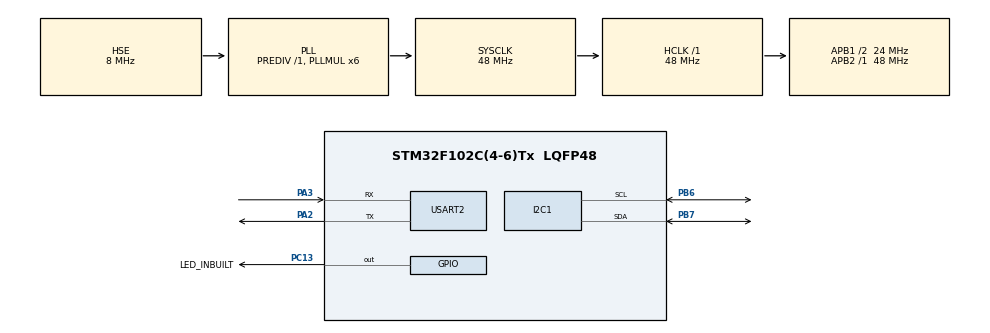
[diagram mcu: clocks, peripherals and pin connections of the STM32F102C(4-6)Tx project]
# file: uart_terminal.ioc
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Mcu.Family=STM32F1
Mcu.Name=STM32F102C(4-6)Tx
Mcu.Package=LQFP48
NVIC.I2C1_ER_IRQn=true\:0\:0\:false\:false\:true\:true\:true\:true
NVIC.I2C1_EV_IRQn=true\:0\:0\:false\:false\:true\:true\:true\:true
NVIC.PriorityGroup=NVIC_PRIORITYGROUP_4
NVIC.USART2_IRQn=true\:0\:0\:false\:false\:true\:true\:true\:true
PA2.Mode=Asynchronous
PA2.Signal=USART2_TX
PA3.Mode=Asynchronous
PA3.Signal=USART2_RX
PB6.Mode=I2C
PB6.Signal=I2C1_SCL
PB7.Mode=I2C
PB7.Signal=I2C1_SDA
PC13-TAMPER-RTC.GPIO_Label=LED_INBUILT
PC13-TAMPER-RTC.Signal=GPIO_Output
PD0-OSC_IN.Mode=HSE-External-Oscillator
PD0-OSC_IN.Signal=RCC_OSC_IN
PD1-OSC_OUT.Mode=HSE-External-Oscillator
PD1-OSC_OUT.Signal=RCC_OSC_OUT
ProjectManager.HeapSize=0x200
ProjectManager.StackSize=0x400
ProjectManager.TargetToolchain=Makefile
RCC.AHBFreq_Value=48000000
RCC.APB1CLKDivider=RCC_HCLK_DIV2
RCC.APB1Freq_Value=24000000
RCC.APB1TimFreq_Value=48000000
RCC.APB2Freq_Value=48000000
RCC.HCLKFreq_Value=48000000
RCC.PLLMUL=RCC_PLL_MUL6
RCC.PLLSourceVirtual=RCC_PLLSOURCE_HSE
RCC.SYSCLKFreq_VALUE=48000000
RCC.SYSCLKSource=RCC_SYSCLKSOURCE_PLLCLK
RCC.USBFreq_Value=48000000
USART2.VirtualMode=VM_ASYNC
VP_SYS_VS_ND.Mode=No_Debug
board=custom

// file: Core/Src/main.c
/* USER CODE BEGIN Header */
/**
  ******************************************************************************
  * @file           : main.c
  * @brief          : Main program body
  ******************************************************************************
  * @attention
  *
  * Copyright (c) 2026 STMicroelectronics.
  * All rights reserved.
  *
  * This software is licensed under terms that can be found in the LICENSE file
  * in the root directory of this software component.
  * If no LICENSE file comes with this software, it is provided AS-IS.
  *
  ******************************************************************************
  */
/* USER CODE END Header */
#include "main.h"

/* USER CODE BEGIN Includes */
#include "uart.h"
#include "mpu6050.h"
#include <stdio.h>
#include <stdlib.h>

#define RX_BUF_SIZE 64

/* USER CODE END Includes */

I2C_HandleTypeDef hi2c1;

UART_HandleTypeDef huart2;

/* USER CODE BEGIN PV */

uint32_t last_blink = 0;
uint32_t last_read = 0;
uint8_t imu_stream_enabled = 0;

/* USER CODE END PV */

void SystemClock_Config(void);
static void MX_GPIO_Init(void);
static void MX_USART2_UART_Init(void);
static void MX_I2C1_Init(void);

/* USER CODE BEGIN 0 */
float alpha = 0.9;
/* USER CODE END 0 */

int main(void)
{

  /* MCU Configuration--------------------------------------------------------*/

  /* Reset of all peripherals, Initializes the Flash interface and the Systick. */
  HAL_Init();

  /* Configure the system clock */
  SystemClock_Config();

  /* Initialize all configured peripherals */
  MX_GPIO_Init();
  MX_USART2_UART_Init();
  MX_I2C1_Init();
  /* USER CODE BEGIN 2 */
  mpu6050_init();
  HAL_Delay(20);
  mpu6050_calibrateGyro();
  last_read = HAL_GetTick();

  MPU6050_Data accel;
  MPU6050_Data gyro;
  MPU6050_Data rpy_acc;
  MPU6050_Data rpy_gyro;
  MPU6050_Data rpy_compl;

  UART_Init();
  /* USER CODE END 2 */

  /* Infinite loop */
  /* USER CODE BEGIN WHILE */

  while (1){
    UART_Process();

    //Temporary Debug Setup
    if(imu_stream_enabled && (HAL_GetTick() - last_read >= 50)){
        mpu6050_readAccel(&accel);
        mpu6050_readGyro(&gyro);
        rpy_acc = mpu6050_rpy_accel(&accel, NULL);
        rpy_gyro = mpu6050_rpy_gyro(&gyro);
        rpy_compl = mpu6050_rpy_compl(&rpy_acc, &rpy_gyro, alpha);
        last_read = HAL_GetTick();

        printf("\r");  // stay on same line (start of same line)

        // printf(
        // "\rACC[%4d.%02d %4d.%02d %4d.%02d] | GYR[%4d.%02d %4d.%02d %4d.%02d]  |  RPY_A[%4d.%02d %4d.%02d %4d.%02d] | RPY_G[%4d.%02d %4d.%02d %4d.%02d]   ",
        //     (int)accel.x, abs((int)(accel.x*100)%100),
        //     (int)accel.y, abs((int)(accel.y*100)%100),
        //     (int)accel.z, abs((int)(accel.z*100)%100),

        //     (int)gyro.x, abs((int)(gyro.x*100)%100),
        //     (int)gyro.y, abs((int)(gyro.y*100)%100),
        //     (int)gyro.z, abs((int)(gyro.z*100)%100),

        //     (int)rpy_acc.x, abs((int)(rpy_acc.x*100)%100),
        //     (int)rpy_acc.y, abs((int)(rpy_acc.y*100)%100),
        //     (int)rpy_acc.z, abs((int)(rpy_acc.z*100)%100),

        //     (int)rpy_gyro.x, abs((int)(rpy_gyro.x*100)%100),
        //     (int)rpy_gyro.y, abs((int)(rpy_gyro.y*100)%100),
        //     (int)rpy_gyro.z, abs((int)(rpy_gyro.z*100)%100)
        // );

        printf(
        "\rRPY[%4d.%02d %4d.%02d %4d.%02d]   ",
            (int)rpy_compl.x, abs((int)(rpy_compl.x*100)%100),
            (int)rpy_compl.y, abs((int)(rpy_compl.y*100)%100),
            (int)rpy_compl.z, abs((int)(rpy_compl.z*100)%100)
        );
    }

    if(HAL_GetTick() - last_blink >= 100){
        last_blink = HAL_GetTick();
        HAL_GPIO_TogglePin(LED_INBUILT_GPIO_Port, LED_INBUILT_Pin);
    }
    /* USER CODE END WHILE */

  }
}

void SystemClock_Config(void)
{
  RCC_OscInitTypeDef RCC_OscInitStruct = {0};
  RCC_ClkInitTypeDef RCC_ClkInitStruct = {0};

  /** Initializes the RCC Oscillators according to the specified parameters
  * in the RCC_OscInitTypeDef structure.
  */
  RCC_OscInitStruct.OscillatorType = RCC_OSCILLATORTYPE_HSE;
  RCC_OscInitStruct.HSEState = RCC_HSE_ON;
  RCC_OscInitStruct.HSEPredivValue = RCC_HSE_PREDIV_DIV1;
  RCC_OscInitStruct.HSIState = RCC_HSI_ON;
  RCC_OscInitStruct.PLL.PLLState = RCC_PLL_ON;
  RCC_OscInitStruct.PLL.PLLSource = RCC_PLLSOURCE_HSE;
  RCC_OscInitStruct.PLL.PLLMUL = RCC_PLL_MUL6;
  if (HAL_RCC_OscConfig(&RCC_OscInitStruct) != HAL_OK)
  {
    Error_Handler();
  }

  /** Initializes the CPU, AHB and APB buses clocks
  */
  RCC_ClkInitStruct.ClockType = RCC_CLOCKTYPE_HCLK|RCC_CLOCKTYPE_SYSCLK
                              |RCC_CLOCKTYPE_PCLK1|RCC_CLOCKTYPE_PCLK2;
  RCC_ClkInitStruct.SYSCLKSource = RCC_SYSCLKSOURCE_PLLCLK;
  RCC_ClkInitStruct.AHBCLKDivider = RCC_SYSCLK_DIV1;
  RCC_ClkInitStruct.APB1CLKDivider = RCC_HCLK_DIV2;
  RCC_ClkInitStruct.APB2CLKDivider = RCC_HCLK_DIV1;

  if (HAL_RCC_ClockConfig(&RCC_ClkInitStruct, FLASH_LATENCY_1) != HAL_OK)
  {
    Error_Handler();
  }
}

static void MX_I2C1_Init(void)
{

  hi2c1.Instance = I2C1;
  hi2c1.Init.ClockSpeed = 100000;
  hi2c1.Init.DutyCycle = I2C_DUTYCYCLE_2;
  hi2c1.Init.OwnAddress1 = 0;
  hi2c1.Init.AddressingMode = I2C_ADDRESSINGMODE_7BIT;
  hi2c1.Init.DualAddressMode = I2C_DUALADDRESS_DISABLE;
  hi2c1.Init.OwnAddress2 = 0;
  hi2c1.Init.GeneralCallMode = I2C_GENERALCALL_DISABLE;
  hi2c1.Init.NoStretchMode = I2C_NOSTRETCH_DISABLE;
  if (HAL_I2C_Init(&hi2c1) != HAL_OK)
  {
    Error_Handler();
  }

}

static void MX_USART2_UART_Init(void)
{

  huart2.Instance = USART2;
  huart2.Init.BaudRate = 115200;
  huart2.Init.WordLength = UART_WORDLENGTH_8B;
  huart2.Init.StopBits = UART_STOPBITS_1;
  huart2.Init.Parity = UART_PARITY_NONE;
  huart2.Init.Mode = UART_MODE_TX_RX;
  huart2.Init.HwFlowCtl = UART_HWCONTROL_NONE;
  huart2.Init.OverSampling = UART_OVERSAMPLING_16;
  if (HAL_UART_Init(&huart2) != HAL_OK)
  {
    Error_Handler();
  }

}

static void MX_GPIO_Init(void)
{
  GPIO_InitTypeDef GPIO_InitStruct = {0};

  /* GPIO Ports Clock Enable */
  __HAL_RCC_GPIOC_CLK_ENABLE();
  __HAL_RCC_GPIOD_CLK_ENABLE();
  __HAL_RCC_GPIOA_CLK_ENABLE();
  __HAL_RCC_GPIOB_CLK_ENABLE();

  /*Configure GPIO pin Output Level */
  HAL_GPIO_WritePin(LED_INBUILT_GPIO_Port, LED_INBUILT_Pin, GPIO_PIN_RESET);

  /*Configure GPIO pin : LED_INBUILT_Pin */
  GPIO_InitStruct.Pin = LED_INBUILT_Pin;
  GPIO_InitStruct.Mode = GPIO_MODE_OUTPUT_PP;
  GPIO_InitStruct.Pull = GPIO_NOPULL;
  GPIO_InitStruct.Speed = GPIO_SPEED_FREQ_LOW;
  HAL_GPIO_Init(LED_INBUILT_GPIO_Port, &GPIO_InitStruct);

}

void Error_Handler(void)
{
  __disable_irq();
  while (1)
  {
  }
}
